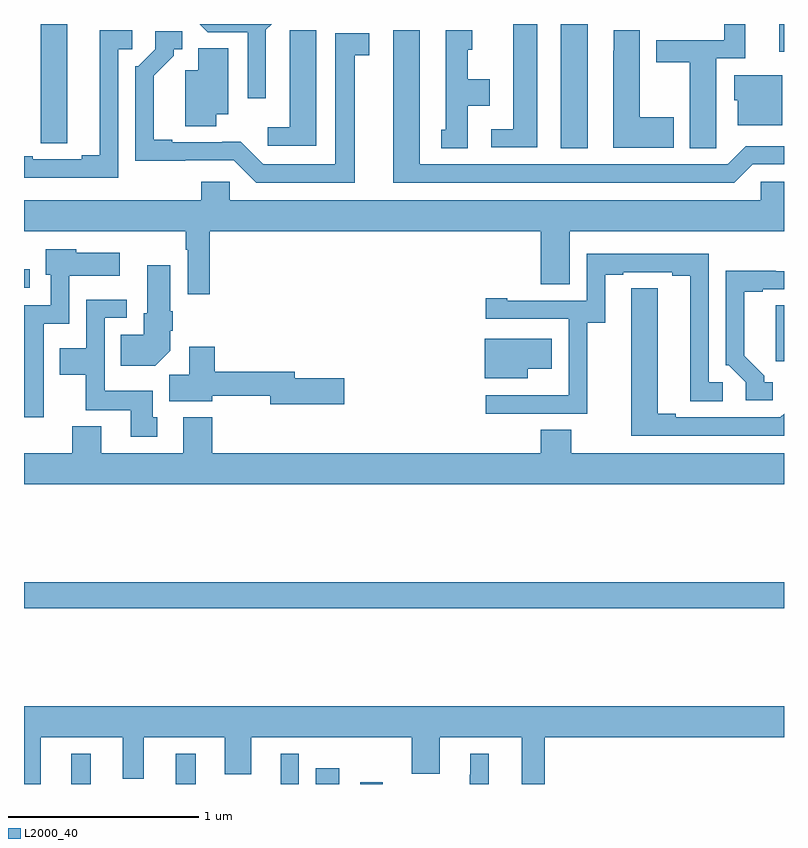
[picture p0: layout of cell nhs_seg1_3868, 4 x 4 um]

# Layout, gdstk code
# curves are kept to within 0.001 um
import gdstk
lib = gdstk.Library(unit=1e-6, precision=1e-09)
def R(c, l, rs):  # rectangles x0, y0, x1, y1
    for r in rs: c.add(gdstk.rectangle(r[:2], r[2:], *l))
def P(c, l, *ps):  # polygons
    for p in ps: c.add(gdstk.Polygon(p, *l))
L2000_40 = (2000, 40)

nhs_seg1_3868 = lib.new_cell('nhs_seg1_3868')
R(nhs_seg1_3868, L2000_40, [(323.249,506.199,323.35,506.359), (323.798,506.199,323.905,506.359), (324.35,506.199,324.447,506.359), (324.536,506.199,324.658,506.281), (324.77,506.199,324.889,506.209), (323,507.124,327,507.26), (326.957,508.424,327,508.718), (323,508.812,323.029,508.909), (325.826,509.545,325.966,510.199), (326.975,510.054,327,510.199)])
P(nhs_seg1_3868, L2000_40, [(326.643,509.656),(326.644,509.656),(326.644,510.018),(326.795,510.018),(326.795,510.199),(326.686,510.199),(326.686,510.114),(326.327,510.114),(326.327,509.998),(326.504,509.998),(326.504,509.545),(326.643,509.545)],
  [(323.227,510.199),(323.087,510.199),(323.087,509.68),(323.088,509.68),(323.088,509.572),(323.227,509.572)],
  [(324.273,510.168),(324.304,510.199),(323.924,510.199),(323.967,510.156),(324.177,510.156),(324.177,509.808),(324.273,509.808)],
  [(325.702,510.199),(325.574,510.199),(325.574,509.646),(325.458,509.646),(325.458,509.55),(325.702,509.55)],
  [(323.496,510.066),(323.569,510.066),(323.569,510.167),(323.399,510.167),(323.399,509.507),(323.303,509.507),(323.303,509.487),(323.047,509.487),(323.047,509.502),(323,509.502),(323,509.391),(323.496,509.391)],
  [(324.538,510.167),(324.399,510.167),(324.399,510.059),(324.398,510.059),(324.398,509.656),(324.282,509.656),(324.282,509.559),(324.538,509.559)],
  [(326.419,509.709),(326.242,509.709),(326.242,510.167),(326.103,510.167),(326.103,510.059),(326.102,510.059),(326.102,509.549),(326.419,509.549)],
  [(325.336,509.768),(325.45,509.768),(325.45,509.908),(325.336,509.908),(325.336,510.063),(325.36,510.063),(325.36,510.166),(325.22,510.166),(325.22,509.643),(325.196,509.643),(325.196,509.545),(325.336,509.545)],
  [(326.835,509.46),(327,509.46),(327,509.556),(326.799,509.556),(326.703,509.46),(325.084,509.46),(325.084,510.166),(324.944,510.166),(324.944,509.364),(326.739,509.364)],
  [(324.742,510.034),(324.817,510.034),(324.817,510.15),(324.638,510.15),(324.638,509.46),(324.258,509.46),(324.14,509.578),(323.779,509.577),(323.779,509.59),(323.683,509.59),(323.683,509.926),(323.788,510.031),(323.788,510.066),(323.833,510.066),(323.833,510.162),(323.691,510.162),(323.691,510.066),(323.601,509.976),(323.586,509.976),(323.586,509.48),(324.105,509.481),(324.222,509.364),(324.742,509.364)],
  [(324.013,509.723),(324.076,509.723),(324.076,510.071),(323.918,510.071),(323.918,509.956),(323.849,509.956),(323.849,509.662),(324.013,509.662)],
  [(326.992,509.929),(326.738,509.929),(326.738,509.799),(326.756,509.799),(326.756,509.666),(326.992,509.666)],
  [(323.978,509.108),(325.721,509.108),(325.721,508.828),(325.873,508.828),(325.873,509.108),(327,509.108),(327,509.37),(326.877,509.37),(326.877,509.272),(324.084,509.272),(324.084,509.37),(323.933,509.37),(323.933,509.272),(323,509.272),(323,509.108),(323.85,509.108),(323.85,509.012),(323.862,509.012),(323.862,508.776),(323.978,508.776)],
  [(323.104,508.622),(323.238,508.622),(323.238,508.874),(323.503,508.874),(323.503,508.996),(323.274,508.996),(323.274,509.014),(323.114,509.014),(323.114,508.878),(323.142,508.878),(323.142,508.719),(323,508.719),(323,508.128),(323.104,508.128)],
  [(325.965,508.627),(326.059,508.627),(326.059,508.878),(326.155,508.878),(326.155,508.893),(326.411,508.893),(326.411,508.873),(326.507,508.873),(326.507,508.213),(326.677,508.213),(326.677,508.314),(326.604,508.314),(326.604,508.989),(325.962,508.989),(325.962,508.743),(325.543,508.743),(325.543,508.756),(325.431,508.756),(325.431,508.647),(325.866,508.647),(325.866,508.246),(325.865,508.246),(325.865,508.245),(325.431,508.245),(325.431,508.149),(325.965,508.149)],
  [(323.77,508.478),(323.77,508.585),(323.783,508.585),(323.783,508.688),(323.77,508.688),(323.77,508.93),(323.648,508.93),(323.648,508.677),(323.63,508.677),(323.63,508.564),(323.509,508.564),(323.509,508.4),(323.692,508.4)],
  [(326.941,508.314),(326.896,508.314),(326.896,508.349),(326.791,508.454),(326.791,508.791),(326.887,508.791),(326.887,508.803),(327,508.803),(327,508.899),(326.957,508.899),(326.957,508.901),(326.694,508.901),(326.694,508.404),(326.709,508.404),(326.799,508.314),(326.799,508.218),(326.941,508.218)],
  [(327,508.149),(326.979,508.128),(326.431,508.128),(326.431,508.148),(326.335,508.148),(326.335,508.808),(326.196,508.808),(326.196,508.7),(326.195,508.7),(326.195,508.032),(327,508.032)],
  [(323.701,508.128),(323.677,508.128),(323.677,508.27),(323.424,508.27),(323.424,508.653),(323.542,508.653),(323.542,508.749),(323.328,508.749),(323.328,508.492),(323.189,508.492),(323.189,508.352),(323.326,508.352),(323.326,508.166),(323.561,508.166),(323.561,508.026),(323.701,508.026)],
  [(325.651,508.385),(325.777,508.385),(325.777,508.543),(325.424,508.543),(325.424,508.334),(325.651,508.334)],
  [(324.685,508.334),(324.424,508.334),(324.424,508.37),(324.005,508.37),(324.005,508.501),(323.87,508.501),(323.87,508.352),(323.765,508.352),(323.765,508.214),(323.992,508.214),(323.992,508.242),(324.296,508.242),(324.296,508.199),(324.685,508.199)],
  [(327,507.94),(325.881,507.94),(325.881,508.064),(325.721,508.064),(325.721,507.94),(323.99,507.94),(323.99,508.129),(323.837,508.129),(323.837,507.94),(323.407,507.94),(323.407,508.081),(323.255,508.081),(323.255,507.94),(323,507.94),(323,507.776),(327,507.776)],
  [(323.089,506.444),(323.519,506.444),(323.519,506.226),(323.629,506.226),(323.629,506.444),(324.056,506.444),(324.056,506.25),(324.196,506.25),(324.196,506.444),(325.042,506.444),(325.042,506.252),(325.189,506.252),(325.189,506.444),(325.619,506.444),(325.619,506.199),(325.742,506.199),(325.742,506.444),(327,506.444),(327,506.608),(323,506.608),(323,506.199),(323.089,506.199)],
  [(325.447,506.359),(325.349,506.359),(325.349,506.249),(325.345,506.249),(325.345,506.199),(325.447,506.199)])

lib.write_gds('nhs_seg1_3868.gds')
